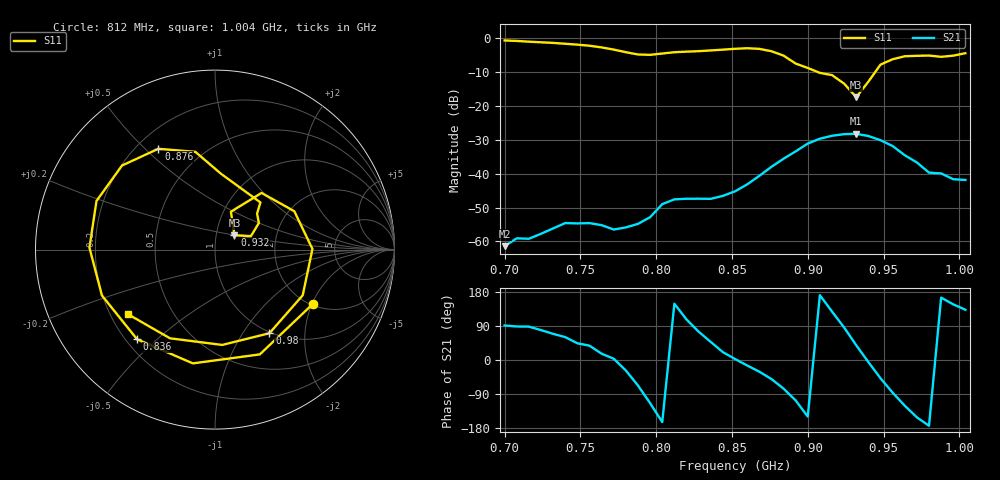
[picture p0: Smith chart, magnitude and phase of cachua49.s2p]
# Hz S RI R 50
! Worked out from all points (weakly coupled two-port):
!   39 points, 700 MHz to 1.004 GHz, reference 50 ohm
!   highest |S21| = -28.22 dB at 932 MHz (marker M1); lowest = -61.4 dB at 700 MHz (marker M2)
!   lowest |S11| = -17.4 dB at 932 MHz (marker M3), VSWR 1.31, Z = 61.3 + j10 ohm
!   |S11| at or under -10 dB: 906.8 MHz to 944.5 MHz (37.66 MHz wide, 4.07 % of centre)
!   S12 and S22 are empty: the file has one direction only
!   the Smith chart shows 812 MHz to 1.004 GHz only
!   S11 on the Smith chart (normalised r, x): 812 MHz: 2.04, -2.03; 836 MHz: 0.24, -0.43; 876 MHz: 0.29, +0.55; 932 MHz: 1.23, +0.20; 980 MHz: 0.98, -1.33; 1.004 GHz: 0.27, -0.31
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7e8  0.7665 0.5257  -1.65e-05 0.000849  0 0  0 0
7.24e8  0.8341 -0.2576  0.00025 0.00127  0 0  0 0
7.4e8  0.4419 -0.7027  0.00092 0.00162  0 0  0 0
7.56e8  -0.1988 -0.7504  0.00147 0.00114  0 0  0 0
7.72e8  -0.6546 -0.1886  0.00149 8.77e-05  0 0  0 0
7.8e8  -0.5783 0.2328  0.00142 -0.000748  0 0  0 0
7.88e8  -0.225 0.5311  0.000698 -0.00167  0 0  0 0
7.96e8  0.2593 0.5072  -0.000924 -0.00208  0 0  0 0
8.04e8  0.5764 0.1495  -0.0034 -0.000988  0 0  0 0
8.12e8  0.5446 -0.3032  -0.00356 0.00218  0 0  0 0
8.2e8  0.2496 -0.5839  -0.00124 0.00408  0 0  0 0
8.36e8  -0.4342 -0.4996  0.00286 0.00314  0 0  0 0
8.52e8  -0.6996 0.0111  0.00547 0.000256  0 0  0 0
8.76e8  -0.3157 0.5617  0.00809 -0.00967  0 0  0 0
9e8  0.2529 0.263  -0.0239 -0.0143  0 0  0 0
9.08e8  0.2343 0.2004  -0.0325 0.00513  0 0  0 0
9.32e8  0.1085 0.0803  0.0302 0.0243  0 0  0 0
9.48e8  0.2595 0.3158  0.0208 -0.0233  0 0  0 0
9.56e8  0.442 0.2136  0.00168 -0.0256  0 0  0 0
9.64e8  0.5429 0.00342  -0.00953 -0.0161  0 0  0 0
9.8e8  0.3034 -0.4659  -0.0103 -0.00116  0 0  0 0
1.004e9  -0.4823 -0.3612  -0.00546 0.00595  0 0  0 0
